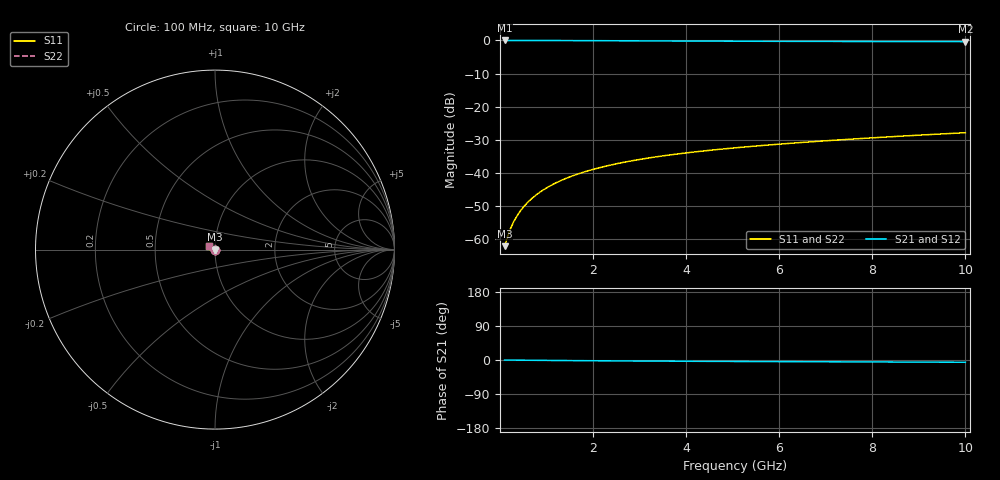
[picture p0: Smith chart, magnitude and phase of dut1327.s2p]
! Touchstone file exported from HFSS 2024.1.0
!  File:  C:/UserFiles/LocalFiles/RDL_TSV_Batchsim/temp_TSV1_1327_1780374981.aedt
!  Generated:  12:46:24 PM Jun  2, 2026
!  Design:  TSV1
!  Project:  temp_TSV1_1327_1780374981
!  Setup:  Setup1
!  Solution:  Sweep
! Variables:
!  dtsv = 5.38um
!  hbump = 3um
!  htsv = 90.45um
!  lrdl = 252.1521522um
!  p = 40
!  p1 = 45.62um
!  t = 500um
!  trdl = 3um
!  wrdl = 24.89489489um
# GHz S MA R 50.000000
! Terminal data exported
! Port[1] = TSV22_T1
! Port[2] = TSV22_T2
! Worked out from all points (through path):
!   100 points, 100 MHz to 10 GHz, reference 50 ohm
!   highest |S21| = 0.00 dB at 100 MHz (marker M1); lowest = -0.4 dB at 10 GHz (marker M2)
!   lowest |S11| = -62.0 dB at 100 MHz (marker M3), VSWR 1.00, Z = 50.1 - j0.0613 ohm
!   |S11| at or under -10 dB: start of sweep to end of sweep
!   |S22| runs from -62.0 to -27.8 dB; largest |S21 - S12| = 4.1e-15
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0.1  0.0007916 -50.6  0.9994 -0.1  0.9994 -0.1  0.0007916 -50.6
! Gamma 0 0 0 0
! Port Impedance 50 0 50 0
0.2  0.001314 -70.4  0.9994 -0.2  0.9994 -0.2  0.001314 -70.4
0.3  0.001885 -79.9  0.9992 -0.3  0.9992 -0.3  0.001885 -79.9
0.4  0.00247 -86.0  0.9991 -0.4  0.9991 -0.4  0.00247 -86.0
0.5  0.003059 -90.6  0.9989 -0.5  0.9989 -0.5  0.003059 -90.6
0.6  0.003648 -94.3  0.9986 -0.6  0.9986 -0.6  0.003648 -94.3
0.7  0.004235 -97.6  0.9983 -0.7  0.9983 -0.7  0.004235 -97.6
0.8  0.004819 -100.6  0.998 -0.9  0.998 -0.9  0.004819 -100.6
0.9  0.005399 -103.3  0.9976 -1.0  0.9976 -1.0  0.005399 -103.3
1.1  0.006544 -108.4  0.9968 -1.2  0.9968 -1.2  0.006544 -108.4
1.4  0.008217 -115.4  0.9953 -1.4  0.9953 -1.4  0.008217 -115.4
1.6  0.009299 -119.7  0.9942 -1.6  0.9942 -1.6  0.009299 -119.7
1.8  0.01035 -123.9  0.9931 -1.8  0.9931 -1.8  0.01035 -123.9
2.1  0.01188 -129.8  0.9912 -2.1  0.9912 -2.1  0.01188 -129.8
2.5  0.0138 -137.2  0.9886 -2.4  0.9886 -2.4  0.0138 -137.2
2.9  0.01562 -144.1  0.986 -2.6  0.986 -2.6  0.01562 -144.1
3.4  0.01775 -152.0  0.9828 -3.0  0.9828 -3.0  0.01775 -152.0
4.2  0.02091 -163.4  0.9781 -3.4  0.9781 -3.4  0.02091 -163.4
5.1  0.0242 -174.3  0.9736 -3.9  0.9736 -3.9  0.0242 -174.3
6.7  0.02969 169.9  0.9675 -4.6  0.9675 -4.6  0.02969 169.9
8.4  0.03534 157.0  0.963 -5.3  0.963 -5.3  0.03534 157.0
10  0.04064 147.4  0.9599 -6.0  0.9599 -6.0  0.04064 147.4
